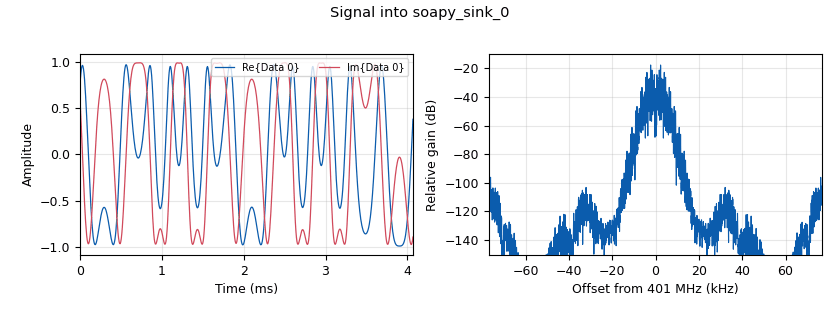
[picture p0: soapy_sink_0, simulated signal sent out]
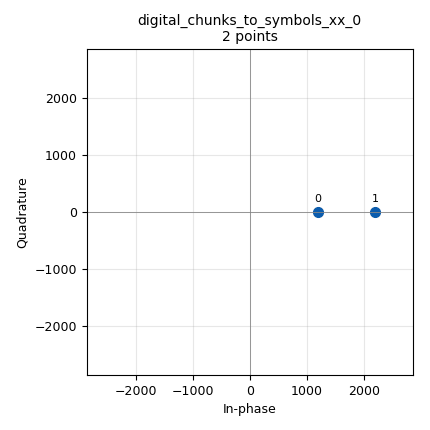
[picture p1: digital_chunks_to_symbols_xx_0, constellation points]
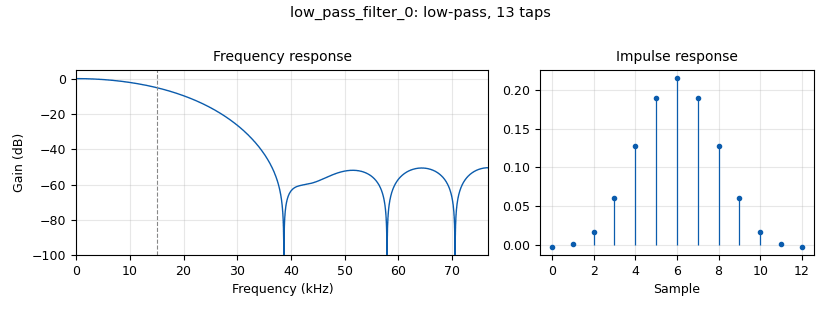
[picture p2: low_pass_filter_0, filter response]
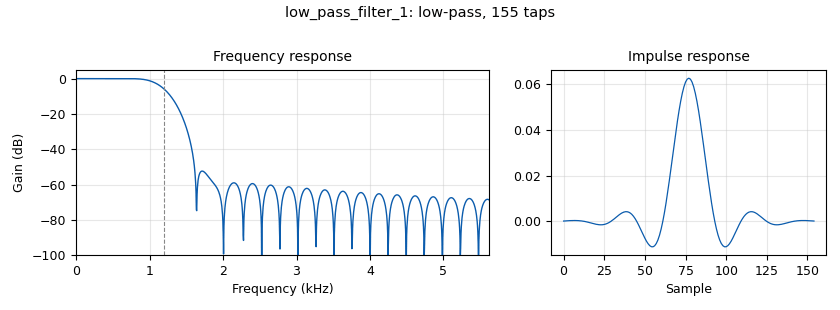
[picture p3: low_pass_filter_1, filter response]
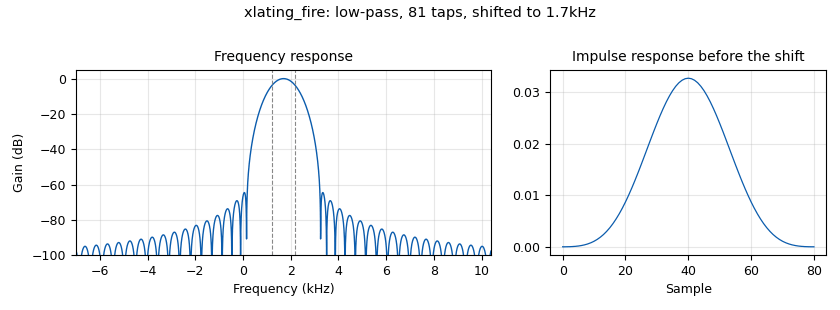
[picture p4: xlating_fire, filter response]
options:
  parameters:
    author: José Miguel Lago, Diego Hurtado de Mendoza
    description: AX.25 AFSK1200
    generate_options: no_gui
    id: totem_afsk_ax25_txrx_nogui
    output_language: python
    title: AFSK1200 TX/RX
  states: {}

blocks:
- name: EbN0_dB
  id: variable
  parameters:
    value: '16'
  states: {state: disabled}
- name: EbN0_dB
  id: variable_qtgui_range
  parameters:
    gui_hint: (0,0,1,2)
    label: Eb/N0 (dB)
    orient: Qt.Horizontal
    start: '0'
    step: '1'
    stop: '50'
    value: '20'
  states: {state: disabled}
- name: SNR_dB
  id: variable
  parameters:
    value: EbN0_dB-10*math.log10(channel_rate/baudrate)
  states: {state: disabled}
- name: baudrate
  id: variable
  parameters:
    value: '1200'
  states: {}
- name: channel_rate
  id: variable
  parameters:
    value: 4*samp_rate
  states: {}
- name: freq
  id: variable
  parameters:
    value: 401e6
  states: {}
- name: hostname
  id: variable
  parameters:
    value: '""'
  states: {}
- name: postamble_len
  id: variable
  parameters:
    value: '3'
  states: {}
- name: preamble_len
  id: variable
  parameters:
    value: '100'
  states: {}
- name: samp_rate
  id: variable
  parameters:
    value: sps*baudrate
  states: {}
- name: sigma
  id: variable
  parameters:
    comment: Psignal = 1
    value: 10**(-SNR_dB/20)
  states: {state: disabled}
- name: soapy_dev
  id: variable
  parameters:
    value: '"driver=totem" + (f",hostname={hostname}" if hostname else "")'
  states: {}
- name: sps
  id: variable
  parameters:
    value: '32'
  states: {}
- name: tag_postamble
  id: variable_tag_object
  parameters:
    key: pmt.intern("packet_len")
    offset: '0'
    src: pmt.from_bool(False)
    value: pmt.from_long(postamble_len*8)
  states: {}
- name: tag_preamble
  id: variable_tag_object
  parameters:
    key: pmt.intern("packet_len")
    offset: '0'
    src: pmt.from_bool(False)
    value: pmt.from_long(preamble_len*8)
  states: {}
- name: variable_low_pass_filter_taps_0
  id: variable_low_pass_filter_taps
  parameters:
    beta: '6.76'
    cutoff_freq: '500'
    gain: '1.0'
    samp_rate: samp_rate
    width: 1.5e3
    win: firdes.WIN_KAISER
  states: {}
- name: analog_frequency_modulator_fc_0
  id: analog_frequency_modulator_fc
  parameters:
    comment: 2*math.pi/(baudrate * sps)
    sensitivity: 2*math.pi/(baudrate * sps)
  states: {}
- name: analog_nbfm_rx_0
  id: analog_nbfm_rx
  parameters:
    audio_rate: int(samp_rate)
    max_dev: 3e3
    quad_rate: channel_rate
    tau: '75e-6'
  states: {}
- name: analog_nbfm_tx_0
  id: analog_nbfm_tx
  parameters:
    audio_rate: sps*baudrate
    fh: '-1.0'
    max_dev: 3e3
    quad_rate: channel_rate
    tau: '75e-6'
  states: {}
- name: analog_quadrature_demod_cf_0
  id: analog_quadrature_demod_cf
  parameters:
    gain: 2*sps / (2*math.pi)
  states: {}
- name: analog_rail_ff_0
  id: analog_rail_ff
  parameters:
    hi: '1'
    lo: '-1'
  states: {}
- name: ax25_aprs
  id: epy_block
  parameters:
    _source_code: |
      """
      Embedded Python Blocks:

      Each time this file is saved, GRC will instantiate the first class it finds
      to get ports and parameters of your block. The arguments to __init__  will
      be the parameters. All of them are required to have default values!
      """

      import numpy as np
      from gnuradio import gr
      import pmt
      import array


      class blk(gr.sync_block):  # other base classes are basic_block, decim_block, interp_block
          
          """APRS AX.25 header

      Source and Destination must be length 6 (add padding spaces to fill)
      Path can be up to 8 digipeaters (6 bytes each one)

      The input expects a uint8 vector of ascii chars as payload to the APRS packet.
          """


          def __init__(self, source="AAAAAA", destination="BBBBBB", path="", verbose=False):  # only default arguments here
              """arguments to this function show up as parameters in GRC"""

              gr.sync_block.__init__(
                  self,
                  name='APRS AX.25 header',   # will show up in GRC
                  in_sig=[],
                  out_sig=[]
              )
              # if an attribute with the same name as a parameter is found,
              # a callback is registered (properties work, too).

              self.verbose = verbose
              self.source = source
              self.destination = destination
              self.path = path

              # Register PMT ports
              self.message_port_register_in(pmt.intern("in"))
              self.message_port_register_out(pmt.intern("out"))

              # Register callback for input messages
              self.set_msg_handler(pmt.intern("in"), self.handle_msg)


          def handle_msg(self, pmt_msg):

              # Take pmt contents
              msg = pmt.cdr(pmt_msg)

              if not pmt.is_u8vector(msg):
                  print ("[ERROR] Received invalid message type. Expected u8vector")
                  return

              # Check arguments
              if len(self.source) != 6 or len(self.destination) != 6:
                  print ("[ERROR] Check length of source/destination (length = 6)")
                  return

              if (len(self.path) > 48):
                  print ("[ERROR] Check length of path (max. length 48 chars)")
                  return

              if self.path != "":
                  path = np.fromstring(self.path, dtype='uint8')


              # Conversion to numpy bytes array
              payload = np.array(pmt.u8vector_elements(msg), dtype = 'uint8')

              # Add ProtocolID (0xF0)
              pid = np.array(0xF0,dtype='uint8')
              payload = np.insert(payload,0,pid)

              # Add Control Field (0x03)
              cf = np.array(0x03,dtype='uint8')
              payload = np.insert(payload,0,cf)

              # Add Digipeater addresses
              if self.path:
                  # Encode SSID (1 lsb due to last address field)
                  path = path << 1 | 0x80
                  payload = np.insert(payload,0,path)

              # Add Source Address
              # Encode SSID (0 lsb since is not the last address field)
              source = np.fromstring(self.source, dtype='uint8') << 1 | 0x60
              payload = np.insert(payload,0,source)

              # Add Destination Address
              # Encode SSID (0 lsb since is not the last address field)
              destination = np.fromstring(self.destination, dtype='uint8') << 1 | 0x60
              payload = np.insert(payload,0,destination)


              # Back to bytes array
              aprs_packet_bytes = array.array('B', payload)

              # Publish aprs packet as pmt
              self.message_port_pub(
                  pmt.intern('out'),
                  pmt.cons(
                      pmt.car(pmt_msg),
                      pmt.init_u8vector(
                          len(aprs_packet_bytes),
                          aprs_packet_bytes
                      )
                  )
              )

              if self.verbose:
                  print ("Source: "+self.source+"  Destination: "+self.destination+"  Path: "+self.path)
                  print ("APRS Packet: ")
                  print (aprs_packet_bytes)
                  print ("\n")


          def work(self, input_items, output_items):
              # No samples to process
              pass
    comment: |-
      Source
      Destination
      Path
    destination: '"EA1RCT"'
    path: '"EA1RCT"'
    source: '"EA1RCT"'
    verbose: '0'
  states: {}
- name: blocks_complex_to_real_0
  id: blocks_complex_to_real
  parameters: {}
  states: {}
- name: blocks_message_debug_1
  id: blocks_message_debug
  parameters: {}
  states: {}
- name: blocks_message_strobe_1_0
  id: blocks_message_strobe
  parameters:
    comment: Payload
    msg: pmt.intern("Hello World")
    period: '3000'
  states: {}
- name: blocks_repeat_0
  id: blocks_repeat
  parameters:
    interp: sps
    type: float
  states: {}
- name: blocks_tagged_stream_multiply_length_0
  id: blocks_tagged_stream_multiply_length
  parameters:
    c: channel_rate/baudrate
    lengthtagname: packet_len
    type: complex
  states: {}
- name: blocks_tagged_stream_mux_0
  id: blocks_tagged_stream_mux
  parameters:
    lengthtagname: packet_len
    ninputs: '3'
    type: byte
  states: {}
- name: blocks_vector_source_x_0
  id: blocks_vector_source_x
  parameters:
    repeat: 'True'
    tags: '[ tag_preamble ]'
    type: byte
    vector: preamble_len*[1,0,1,0,1,0,1,0]
  states: {}
- name: blocks_vector_source_x_0_0
  id: blocks_vector_source_x
  parameters:
    repeat: 'True'
    tags: '[tag_postamble]'
    type: byte
    vector: postamble_len*[1,0,1,0,1,0,1,0]
  states: {}
- name: channels_channel_model_0
  id: channels_channel_model
  parameters:
    block_tags: 'True'
    epsilon: '1.0'
    freq_offset: '0.0'
    noise_voltage: sigma
    seed: '0'
    taps: 1.0 + 1.0j
  states: {state: disabled}
- name: digital_binary_slicer_fb_0
  id: digital_binary_slicer_fb
  parameters: {}
  states: {}
- name: digital_chunks_to_symbols_xx_0
  id: digital_chunks_to_symbols_xx
  parameters:
    dimension: '1'
    in_type: byte
    out_type: float
    symbol_table: (1200, 2200)
  states: {}
- name: digital_hdlc_deframer_bp_0
  id: digital_hdlc_deframer_bp
  parameters:
    max: '500'
    min: '10'
  states: {}
- name: digital_hdlc_framer_pb_0
  id: digital_hdlc_framer_pb
  parameters:
    comment: Flag + Payload + FCS + Flag
    frame_tag_name: packet_len
  states: {}
- name: digital_symbol_sync_xx_0
  id: digital_symbol_sync_xx
  parameters:
    damping: '1.0'
    loop_bw: 6*0.045
    max_dev: '0.01'
    osps: '1'
    resamp_type: digital.IR_MMSE_8TAP
    sps: sps
    ted_gain: '1.0'
    ted_type: digital.TED_SIGNAL_TIMES_SLOPE_ML
    type: ff
  states: {}
- name: epy_block_1
  id: epy_block
  parameters:
    _source_code: |
      """
      Embedded Python Blocks:

      Each time this file is saved, GRC will instantiate the first class it finds
      to get ports and parameters of your block. The arguments to __init__  will
      be the parameters. All of them are required to have default values!
      """

      import numpy as np
      from gnuradio import gr


      class blk(gr.sync_block):  # other base classes are basic_block, decim_block, interp_block
          """Embedded Python Block example - a simple multiply const"""

          def __init__(self):  # only default arguments here
              """arguments to this function show up as parameters in GRC"""
              gr.sync_block.__init__(
                  self,
                  name='NRZI Encoder',   # will show up in GRC
                  in_sig=[np.uint8],
                  out_sig=[np.uint8]
              )
              # if an attribute with the same name as a parameter is found,
              # a callback is registered (properties work, too).
              self.last = 0

          def work(self, input_items, output_items):
              in0 = input_items[0]
              out = output_items[0]
              
              for i, x in enumerate(in0):
                  out[i] = self.last = ~(x ^ self.last) & 1

              return len(out)
    comment: Python custom block
  states: {}
- name: epy_block_1_0
  id: epy_block
  parameters:
    _source_code: |
      """
      Embedded Python Blocks:

      Each time this file is saved, GRC will instantiate the first class it finds
      to get ports and parameters of your block. The arguments to __init__  will
      be the parameters. All of them are required to have default values!
      """

      import numpy as np
      from gnuradio import gr


      class blk(gr.sync_block):  # other base classes are basic_block, decim_block, interp_block
          """Embedded Python Block example - a simple multiply const"""

          def __init__(self):  # only default arguments here
              """arguments to this function show up as parameters in GRC"""
              gr.sync_block.__init__(
                  self,
                  name='NRZI Decoder',   # will show up in GRC
                  in_sig=[np.uint8],
                  out_sig=[np.uint8]
              )
              # if an attribute with the same name as a parameter is found,
              # a callback is registered (properties work, too).
              self.last = 0

          def work(self, input_items, output_items):
              in0 = input_items[0]
              out = output_items[0]
              
              for i, x in enumerate(in0):
                  out[i] = ~(x ^ self.last) & 1
                  self.last = x

              return len(out)
    comment: Python custom block
  states: {}
- name: import_0
  id: import
  parameters:
    imports: import math
  states: {}
- name: low_pass_filter_0
  id: low_pass_filter
  parameters:
    cutoff_freq: 15e3
    decim: '1'
    gain: '1'
    samp_rate: channel_rate
    type: fir_filter_ccf
    width: 30e3
    win: firdes.WIN_HAMMING
  states: {}
- name: low_pass_filter_0_0
  id: low_pass_filter
  parameters:
    cutoff_freq: '15000'
    decim: '1'
    gain: '1'
    samp_rate: channel_rate
    type: fir_filter_ccf
    width: '30000'
    win: firdes.WIN_HAMMING
  states: {}
- name: low_pass_filter_1
  id: low_pass_filter
  parameters:
    cutoff_freq: baudrate
    gain: '1'
    interp: '1'
    samp_rate: samp_rate
    type: interp_fir_filter_fff
    width: baudrate/2
    win: firdes.WIN_HAMMING
  states: {}
- name: qtgui_freq_sink_x_0
  id: qtgui_freq_sink_x
  parameters:
    bw: channel_rate
    fc: '0'
    fftsize: '1024'
    grid: 'True'
    gui_hint: (1,1,1,1)
    name: '"TX"'
    type: complex
    wintype: firdes.WIN_BLACKMAN_hARRIS
  states: {state: disabled}
- name: qtgui_freq_sink_x_0_0
  id: qtgui_freq_sink_x
  parameters:
    bw: channel_rate
    fc: '0'
    fftsize: '1024'
    grid: 'True'
    gui_hint: (2,1,1,1)
    name: '"RX"'
    type: complex
    wintype: firdes.WIN_BLACKMAN_hARRIS
  states: {state: disabled}
- name: qtgui_freq_sink_x_0_1
  id: qtgui_freq_sink_x
  parameters:
    bw: samp_rate
    fc: '0'
    fftsize: '512'
    freqhalf: 'False'
    grid: 'True'
    gui_hint: (1,1,1,1)
    name: '"Before FM mod"'
    type: complex
    update_time: '0.05'
    wintype: firdes.WIN_RECTANGULAR
  states: {state: disabled}
- name: qtgui_time_sink_x_0_1
  id: qtgui_time_sink_x
  parameters:
    autoscale: 'True'
    gui_hint: (1,2,1,1)
    label1: ''
    name: '"Post-Demodulation"'
    size: 2048*sps
    srate: samp_rate
    type: float
  states: {state: disabled}
- name: qtgui_time_sink_x_0_1_0
  id: qtgui_time_sink_x
  parameters:
    autoscale: 'True'
    gui_hint: (2,1,1,1)
    label1: ''
    name: '"RX Time Baseband"'
    size: '1024'
    srate: samp_rate
    type: float
  states: {state: disabled}
- name: qtgui_time_sink_x_1
  id: qtgui_time_sink_x
  parameters:
    gui_hint: (2,2,1,1)
    marker1: '0'
    name: '"Post sync"'
    size: '2048'
    srate: samp_rate
    style1: '0'
    type: float
  states: {state: disabled}
- name: soapy_sink_0
  id: soapy_sink
  parameters:
    ant0: A
    args: bufflen=100000
    bw0: 200e3
    center_freq0: freq
    dev: soapy_dev
    devname: custom
    length_tag_name: packet_len
    manual_gain0: 'False'
    overall_gain0: '89'
    samp_rate: channel_rate
    type: fc32
  states: {}
- name: soapy_source_0
  id: soapy_source
  parameters:
    ant0: A_BALANCED
    balance0: '0'
    bw0: 200e3
    center_freq0: freq
    correction0: '0'
    dc_offset0: '0'
    dc_removal0: 'True'
    dev: soapy_dev
    devname: custom
    overall_gain0: '50'
    samp_rate: channel_rate
    stream_args: bufflen=10000
    type: fc32
  states: {}
- name: string_to_uint8_0
  id: epy_block
  parameters:
    _source_code: |
      """
      Embedded Python Blocks:

      Each time this file is saved, GRC will instantiate the first class it finds
      to get ports and parameters of your block. The arguments to __init__  will
      be the parameters. All of them are required to have default values!
      """

      import numpy as np
      from gnuradio import gr

      import pmt

      class blk(gr.sync_block):  # other base classes are basic_block, decim_block, interp_block
          """Embedded Python Block example - a simple multiply const"""

          def __init__(self):  # only default arguments here
              """arguments to this function show up as parameters in GRC"""

              gr.sync_block.__init__(
                  self,
                  name='String to uint8 vector',   # will show up in GRC
                  in_sig=None,
                  out_sig=None
              )

              # if an attribute with the same name as a parameter is found,
              # a callback is registered (properties work, too).
              self.message_port_register_out(pmt.intern('message_out'))
              self.message_port_register_in(pmt.intern('message_in'))
              self.set_msg_handler(pmt.intern('message_in'), self.handle_msg)


          def handle_msg(self, msg):
              
              nvec = pmt.to_python(msg)

              self.message_port_pub(
                  pmt.intern('message_out'), 
                  pmt.cons(
                      pmt.make_dict(), 
                      pmt.to_pmt(np.array(bytearray(nvec, "utf8")))
                  )
              )

          def work(self, input_items, output_items):
              pass
    comment: ASCII to Binary
  states: {}
- name: virtual_sink_0
  id: virtual_sink
  parameters:
    stream_id: hdlc_frames
  states: {}
- name: virtual_sink_0_0_0_1
  id: virtual_sink
  parameters:
    stream_id: rx_signal
  states: {}
- name: virtual_sink_0_0_0_1_0
  id: virtual_sink
  parameters:
    stream_id: tx_signal
  states: {}
- name: virtual_source_0_0_0
  id: virtual_source
  parameters:
    stream_id: rx_signal
  states: {}
- name: virtual_source_0_0_0_0
  id: virtual_source
  parameters:
    stream_id: tx_signal
  states: {}
- name: virtual_source_0_1
  id: virtual_source
  parameters:
    stream_id: hdlc_frames
  states: {}
- name: xlating_fire
  id: freq_xlating_fir_filter_xxx
  parameters:
    center_freq: '1700'
    decim: '1'
    samp_rate: samp_rate
    taps: variable_low_pass_filter_taps_0
    type: fcf
  states: {}

connections:
- [analog_frequency_modulator_fc_0, '0', blocks_complex_to_real_0, '0']
- [analog_nbfm_rx_0, '0', qtgui_time_sink_x_0_1_0, '0']
- [analog_nbfm_rx_0, '0', xlating_fire, '0']
- [analog_nbfm_tx_0, '0', low_pass_filter_0, '0']
- [analog_nbfm_tx_0, '0', qtgui_freq_sink_x_0_1, '0']
- [analog_quadrature_demod_cf_0, '0', low_pass_filter_1, '0']
- [analog_rail_ff_0, '0', digital_symbol_sync_xx_0, '0']
- [analog_rail_ff_0, '0', qtgui_time_sink_x_0_1, '0']
- [ax25_aprs, out, digital_hdlc_framer_pb_0, in]
- [blocks_complex_to_real_0, '0', analog_nbfm_tx_0, '0']
- [blocks_message_strobe_1_0, strobe, string_to_uint8_0, message_in]
- [blocks_repeat_0, '0', analog_frequency_modulator_fc_0, '0']
- [blocks_tagged_stream_multiply_length_0, '0', virtual_sink_0_0_0_1_0, '0']
- [blocks_tagged_stream_mux_0, '0', digital_chunks_to_symbols_xx_0, '0']
- [blocks_vector_source_x_0, '0', blocks_tagged_stream_mux_0, '0']
- [blocks_vector_source_x_0_0, '0', blocks_tagged_stream_mux_0, '2']
- [channels_channel_model_0, '0', virtual_sink_0_0_0_1, '0']
- [digital_binary_slicer_fb_0, '0', epy_block_1_0, '0']
- [digital_chunks_to_symbols_xx_0, '0', blocks_repeat_0, '0']
- [digital_hdlc_deframer_bp_0, out, blocks_message_debug_1, print_pdu]
- [digital_hdlc_framer_pb_0, '0', virtual_sink_0, '0']
- [digital_symbol_sync_xx_0, '0', digital_binary_slicer_fb_0, '0']
- [digital_symbol_sync_xx_0, '0', qtgui_time_sink_x_1, '0']
- [epy_block_1, '0', blocks_tagged_stream_mux_0, '1']
- [epy_block_1_0, '0', digital_hdlc_deframer_bp_0, '0']
- [low_pass_filter_0, '0', blocks_tagged_stream_multiply_length_0, '0']
- [low_pass_filter_0_0, '0', analog_nbfm_rx_0, '0']
- [low_pass_filter_1, '0', analog_rail_ff_0, '0']
- [soapy_source_0, '0', virtual_sink_0_0_0_1, '0']
- [string_to_uint8_0, message_out, ax25_aprs, in]
- [virtual_source_0_0_0, '0', low_pass_filter_0_0, '0']
- [virtual_source_0_0_0, '0', qtgui_freq_sink_x_0_0, '0']
- [virtual_source_0_0_0_0, '0', channels_channel_model_0, '0']
- [virtual_source_0_0_0_0, '0', qtgui_freq_sink_x_0, '0']
- [virtual_source_0_0_0_0, '0', soapy_sink_0, '0']
- [virtual_source_0_1, '0', epy_block_1, '0']
- [xlating_fire, '0', analog_quadrature_demod_cf_0, '0']

metadata:
  file_format: 1
